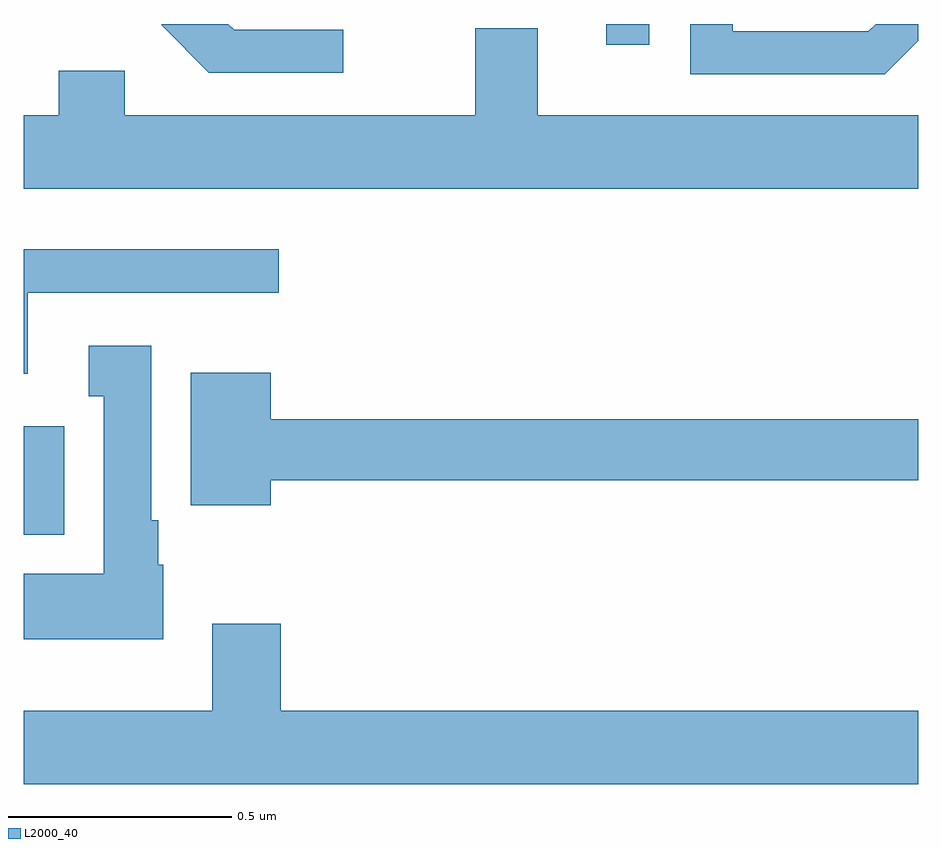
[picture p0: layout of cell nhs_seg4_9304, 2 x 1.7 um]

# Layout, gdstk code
import gdstk
lib = gdstk.Library(unit=1e-6, precision=1e-09)
def R(c, l, rs):  # rectangles x0, y0, x1, y1
    for r in rs: c.add(gdstk.rectangle(r[:2], r[2:], *l))
def P(c, l, *ps):  # polygons
    for p in ps: c.add(gdstk.Polygon(p, *l))
L2000_40 = (2000, 40)

nhs_seg4_9304 = lib.new_cell('nhs_seg4_9304')
R(nhs_seg4_9304, L2000_40, [(226,750.758,226.09,751), (227.303,751.854,227.399,751.9)])
P(nhs_seg4_9304, L2000_40, [(226.714,751.887),(226.47,751.887),(226.457,751.9),(226.308,751.9),(226.308,751.897),(226.413,751.791),(226.714,751.791)],
  [(228,751.863),(228,751.9),(227.905,751.9),(227.889,751.884),(227.586,751.884),(227.586,751.9),(227.49,751.9),(227.49,751.788),(227.925,751.788)],
  [(228,751.696),(227.149,751.696),(227.149,751.891),(227.009,751.891),(227.009,751.696),(226.225,751.696),(226.225,751.795),(226.078,751.795),(226.078,751.696),(226,751.696),(226,751.532),(228,751.532)],
  [(226.009,751.299),(226.57,751.299),(226.57,751.396),(226,751.396),(226,751.118),(226.009,751.118)],
  [(226.312,750.69),(226.3,750.69),(226.3,750.79),(226.285,750.79),(226.285,751.18),(226.145,751.18),(226.145,751.067),(226.178,751.067),(226.178,750.67),(226,750.67),(226,750.524),(226.312,750.524)],
  [(226.552,750.88),(228,750.88),(228,751.016),(226.552,751.016),(226.552,751.12),(226.373,751.12),(226.373,750.824),(226.552,750.824)],
  [(228,750.364),(226.574,750.364),(226.574,750.559),(226.421,750.559),(226.421,750.364),(226,750.364),(226,750.2),(228,750.2)])

lib.write_gds('nhs_seg4_9304.gds')
